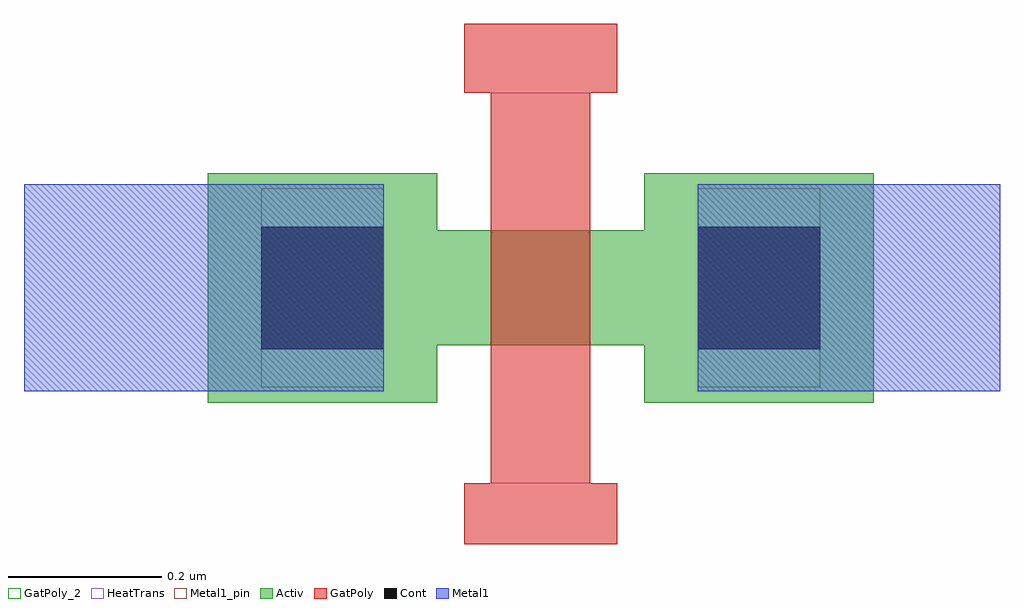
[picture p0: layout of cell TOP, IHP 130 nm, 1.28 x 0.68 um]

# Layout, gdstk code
import gdstk
lib = gdstk.Library(unit=1e-6, precision=1e-09)
def R(c, l, rs):  # rectangles x0, y0, x1, y1
    for r in rs: c.add(gdstk.rectangle(r[:2], r[2:], *l))
Activ = (1, 0)
GatPoly = (5, 0)
GatPoly_2 = (5, 2)
Cont = (6, 0)
Metal1 = (8, 0)
Metal1_pin = (8, 2)
HeatTrans = (51, 0)

nmos = lib.new_cell('nmos')
R(nmos, Activ, [(0,0,0.3,0.3), (0.57,0,0.87,0.3), (0,0.075,0.87,0.225)])
R(nmos, GatPoly, [(0.37,-0.105,0.5,0.405)])
R(nmos, GatPoly_2, [(0.37,-0.105,0.5,0.405)])
R(nmos, Cont, [(0.07,0.07,0.23,0.23), (0.64,0.07,0.8,0.23)])
R(nmos, Metal1, [(0.07,0.02,0.23,0.28), (0.64,0.02,0.8,0.28)])
R(nmos, Metal1_pin, [(0.07,0.02,0.23,0.28), (0.64,0.02,0.8,0.28)])
R(nmos, HeatTrans, [(0.37,-0.105,0.5,0.405)])
nmos.add(gdstk.Label('nmos', (0.435,0.15), layer=63, texttype=0))
nmos.add(gdstk.Label('nmos', (0.435,0.15), layer=51, texttype=0))

top = lib.new_cell('TOP')
R(top, Metal1, [(-0.675,-0.135,-0.205,0.135), (0.205,-0.135,0.6,0.135)])
top.add(gdstk.FlexPath([(0,0.255),(0,0.345)], 0.2, ends="flush", simple_path=True, layer=5, datatype=0))  # GatPoly
top.add(gdstk.FlexPath([(0,-0.255),(0,-0.335)], 0.2, ends="flush", simple_path=True, layer=5, datatype=0))  # GatPoly
top.add(gdstk.Reference(nmos, (-0.435,-0.15)))

lib.write_gds('TOP.gds')
